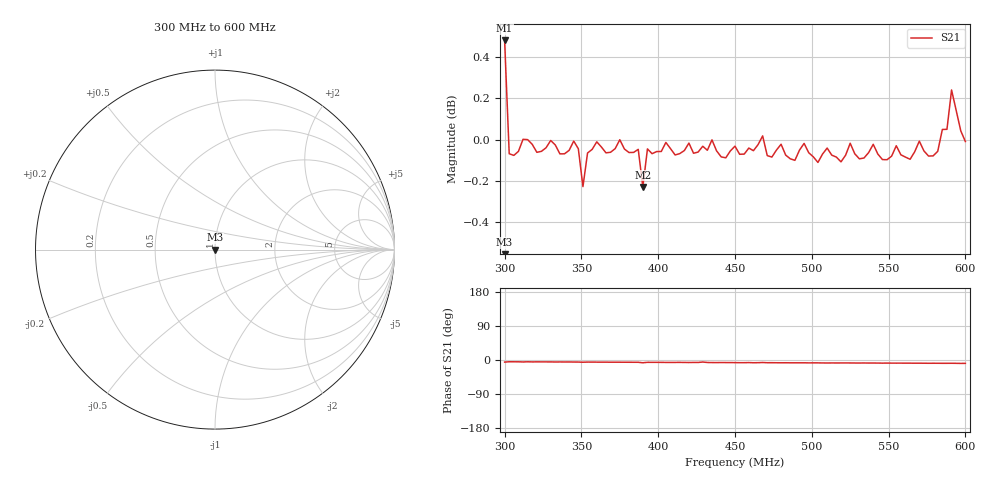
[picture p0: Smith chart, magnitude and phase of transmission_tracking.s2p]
! Created with skrf 1.8.0 (http://scikit-rf.org).
# Hz S RI R 50.0
!freq ReS11 ImS11 ReS21 ImS21 ReS12 ImS12 ReS22 ImS22
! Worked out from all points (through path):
!   101 points, 300 MHz to 600 MHz, reference 50 ohm
!   highest |S21| = 0.48 dB at 300 MHz (marker M1); lowest = -0.2 dB at 390 MHz (marker M2)
!   group delay of S21, straight-line fit = 37.8 ps
!   lowest |S11| = - dB at 300 MHz (marker M3), VSWR 1.00, Z = 50 + j0 ohm
!   |S11| at or under -10 dB: start of sweep to end of sweep
!   S12 and S22 are empty: the file has one direction only
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3e8  0 0  1.052 -0.1017  0 0  0 0
3.03e8  0 0  0.9888 -0.0804  0 0  0 0
3.45e8  0 0  0.9948 -0.0933  0 0  0 0
3.51e8  0 0  0.9689 -0.0997  0 0  0 0
3.54e8  0 0  0.988 -0.0943  0 0  0 0
3.75e8  0 0  0.9947 -0.1016  0 0  0 0
3.87e8  0 0  0.9891 -0.1042  0 0  0 0
3.9e8  0 0  0.966 -0.1233  0 0  0 0
3.93e8  0 0  0.9891 -0.1058  0 0  0 0
4.02e8  0 0  0.9874 -0.1083  0 0  0 0
4.26e8  0 0  0.9867 -0.1117  0 0  0 0
4.29e8  0 0  0.992 -0.0927  0 0  0 0
4.32e8  0 0  0.9875 -0.1138  0 0  0 0
4.5e8  0 0  0.9891 -0.1196  0 0  0 0
4.68e8  0 0  0.9955 -0.1146  0 0  0 0
4.71e8  0 0  0.9833 -0.1234  0 0  0 0
5.01e8  0 0  0.9817 -0.1306  0 0  0 0
5.52e8  0 0  0.9806 -0.1416  0 0  0 0
5.82e8  0 0  0.9823 -0.1486  0 0  0 0
5.88e8  0 0  0.9941 -0.1526  0 0  0 0
5.91e8  0 0  1.017 -0.1535  0 0  0 0
6e8  0 0  0.987 -0.1538  0 0  0 0
